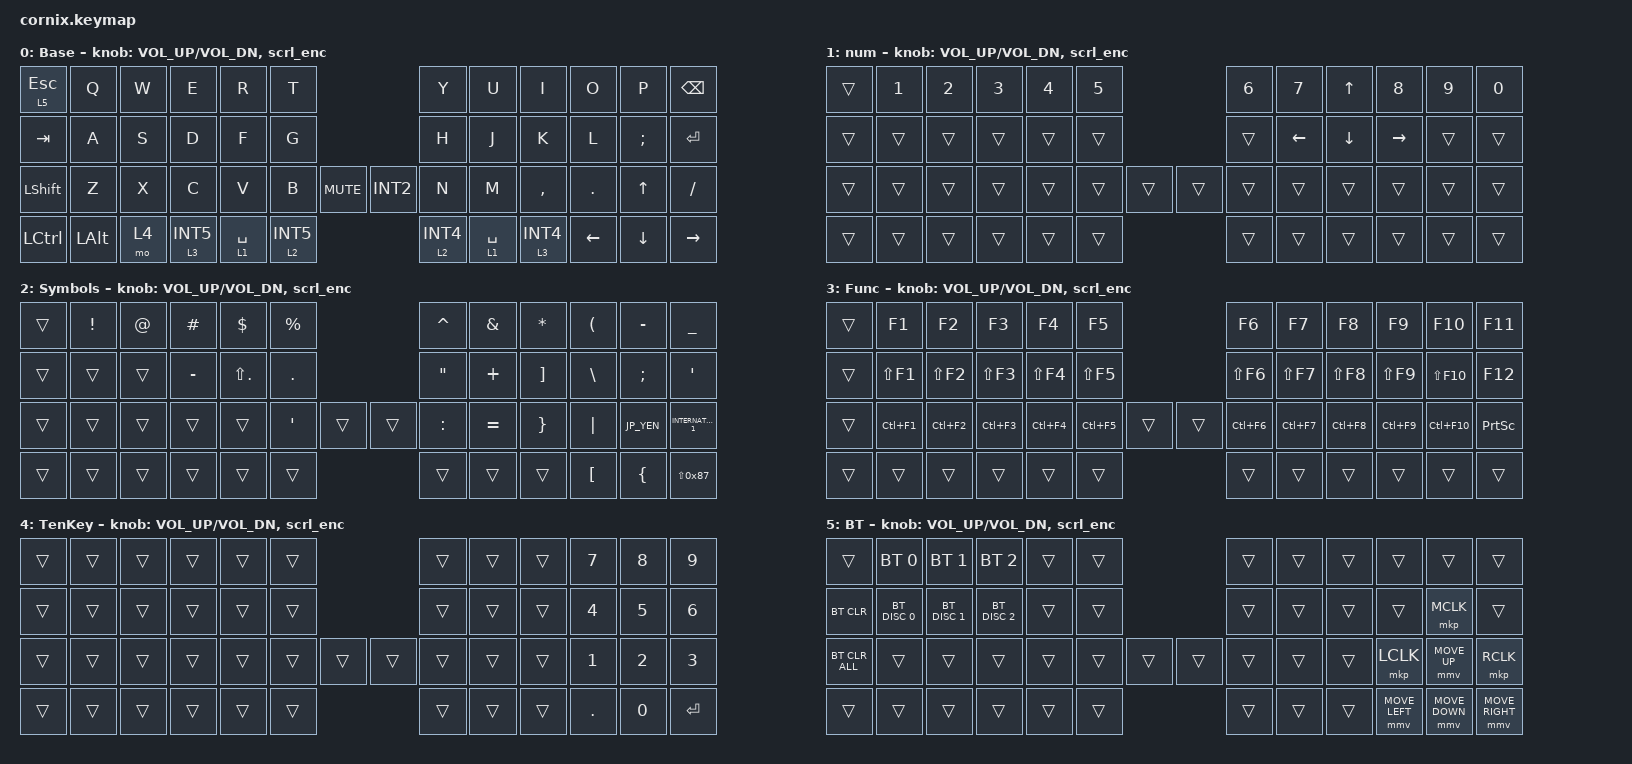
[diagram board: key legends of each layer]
/*
 * Copyright (c) 2020 The ZMK Contributors
 *
 * SPDX-License-Identifier: MIT
 */

#define ZMK_POINTING_DEFAULT_SCRL_VAL 50
#define JP_DQUOTE       AT                // "
#define JP_AMPERSAND    CARET             // &
#define JP_QUOTE        AMPERSAND         // '
#define JP_EQUAL        UNDER             // =
#define JP_CARET        EQUAL             // ^
#define JP_YEN          0x89              // ¥
#define JP_PLUS         COLON             // +
#define JP_TILDE        PLUS              // ~
#define JP_PIPE         LS(0x89)          // |
#define JP_AT           LEFT_BRACKET      // @
#define JP_COLON        SINGLE_QUOTE      // :
#define JP_ASTERISK     DOUBLE_QUOTES     // *
#define JP_BACKQUOTE    LEFT_BRACE        // `
#define JP_UNDERSCORE   LS(0x87)          // _
#define JP_LBRACKET     RIGHT_BRACKET     // [
#define JP_RBRACKET     BACKSLASH         // ]
#define JP_LPAREN       ASTERISK          // (
#define JP_RPAREN       LEFT_PARENTHESIS  // )
#define JP_LBRACE       RIGHT_BRACE       // {
#define JP_RBRACE       PIPE              // }
#define JP_KANA         LANGUAGE_1        // かな
#define JP_EISU         LANGUAGE_2        // 英数
#define JP_HANZEN       GRAVE             // 半角/全角
#define JP_BSLH         INTERNATIONAL_1   // ろ（右下の \ と _ のキー）

#include <behaviors.dtsi>
#include <dt-bindings/zmk/bt.h>
#include <dt-bindings/zmk/keys.h>
#include <dt-bindings/zmk/pointing.h>

/ {
    combos {
        compatible = "zmk,combos";

        esc {
            bindings = <&kp ESCAPE>;
            key-positions = <0 1>;
        };

        minus {
            bindings = <&kp MINUS>;
            key-positions = <8 9>;
        };

        alt_f4 {
            bindings = <&kp LA(F4)>;
            key-positions = <3 4 5>;
        };

        f10 {
            bindings = <&kp F10>;
            key-positions = <9 10>;
        };

        tidle {
            bindings = <&kp JP_TILDE>;
            key-positions = <7 8>;
        };

        pipe {
            bindings = <&kp JP_PIPE>;
            key-positions = <18 32>;
        };

        underscore {
            bindings = <&kp JP_UNDERSCORE>;
            key-positions = <37 36>;
        };

        del {
            bindings = <&kp DELETE>;
            key-positions = <10 11>;
        };

        f7 {
            bindings = <&kp F7>;
            key-positions = <6 7>;
        };

        pointerref {
            bindings = <&pointer_macro>;
            key-positions = <18 19>;
        };

        win {
            bindings = <&kp LEFT_GUI>;
            key-positions = <39 40>;
        };

        space {
            bindings = <&kp SPACE>;
            key-positions = <42 45>;
        };
    };

    macros {
        pointer_macro: new_macro {
            compatible = "zmk,behavior-macro";
            #binding-cells = <0>;
            bindings = <&kp KP_MINUS &kp GT>;
            label = "NEW_MACRO";
        };
    };

    behaviors {
        scrl_enc: scrl_enc {
            compatible = "zmk,behavior-sensor-rotate";
            #sensor-binding-cells = <0>;
            bindings = <&msc SCRL_DOWN>, <&msc SCRL_UP>;

            tap-ms = <50>;
        };
    };

    keymap {
        compatible = "zmk,keymap";

        default_layer {
            display-name = "Base";
            bindings = <
&lt 5 ESC         &kp Q         &kp W  &kp E       &kp R        &kp T                             &kp Y       &kp U        &kp I       &kp O     &kp P         &kp BACKSPACE
&kp TAB           &kp A         &kp S  &kp D       &kp F        &kp G                             &kp H       &kp J        &kp K       &kp L     &kp SEMI      &kp ENTER
&kp LEFT_SHIFT    &kp Z         &kp X  &kp C       &kp V        &kp B       &kp C_MUTE  &kp INT2  &kp N       &kp M        &kp COMMA   &kp DOT   &kp UP_ARROW  &kp SLASH
&kp LEFT_CONTROL  &kp LEFT_ALT  &mo 4  &lt 3 INT5  &lt 1 SPACE  &lt 2 INT5                        &lt 2 INT4  &lt 1 SPACE  &lt 3 INT4  &kp LEFT  &kp DOWN      &kp RIGHT
            >;

            sensor-bindings = <&inc_dec_kp C_VOL_UP C_VOL_DN>, <&scrl_enc>;
        };

        Num_layer {
            display-name = "num";
            bindings = <
&trans  &kp N1  &kp N2  &kp N3  &kp N4  &kp N5                  &kp N6  &kp N7    &kp UP    &kp N8     &kp N9  &kp N0
&trans  &trans  &trans  &trans  &trans  &trans                  &trans  &kp LEFT  &kp DOWN  &kp RIGHT  &trans  &trans
&trans  &trans  &trans  &trans  &trans  &trans  &trans  &trans  &trans  &trans    &trans    &trans     &trans  &trans
&trans  &trans  &trans  &trans  &trans  &trans                  &trans  &trans    &trans    &trans     &trans  &trans
            >;

            sensor-bindings = <&inc_dec_kp C_VOL_UP C_VOL_DN>, <&scrl_enc>;
        };

        Symbol_layer {
            display-name = "Symbols";
            bindings = <
&trans  &kp EXCLAMATION  &kp JP_DQUOTE  &kp HASH   &kp DOLLAR   &kp PERCENT                   &kp JP_AMPERSAND  &kp JP_QUOTE  &kp JP_LPAREN    &kp JP_RPAREN    &kp MINUS         &kp JP_EQUAL
&trans  &trans           &trans         &kp MINUS  &kp LS(DOT)  &kp DOT                       &kp JP_ASTERISK   &kp JP_TILDE  &kp JP_LBRACKET  &kp JP_RBRACKET  &kp SEMI          &kp JP_COLON
&trans  &trans           &trans         &trans     &trans       &kp JP_COLON  &trans  &trans  &kp JP_PLUS       &kp JP_CARET  &kp JP_LBRACE    &kp JP_RBRACE    &kp JP_YEN        &kp JP_BSLH
&trans  &trans           &trans         &trans     &trans       &trans                        &trans            &trans        &trans           &kp JP_AT        &kp JP_BACKQUOTE  &kp JP_UNDERSCORE
            >;

            sensor-bindings = <&inc_dec_kp C_VOL_UP C_VOL_DN>, <&scrl_enc>;
        };

        Function_layer {
            display-name = "Func";
            bindings = <
&trans  &kp F1      &kp F2      &kp F3      &kp F4      &kp F5                      &kp F6      &kp F7      &kp F8      &kp F9      &kp F10      &kp F11
&trans  &kp LS(F1)  &kp LS(F2)  &kp LS(F3)  &kp LS(F4)  &kp LS(F5)                  &kp LS(F6)  &kp LS(F7)  &kp LS(F8)  &kp LS(F9)  &kp LS(F10)  &kp F12
&trans  &kp LC(F1)  &kp LC(F2)  &kp LC(F3)  &kp LC(F4)  &kp LC(F5)  &trans  &trans  &kp LC(F6)  &kp LC(F7)  &kp LC(F8)  &kp LC(F9)  &kp LC(F10)  &kp PRINTSCREEN
&trans  &trans      &trans      &trans      &trans      &trans                      &trans      &trans      &trans      &trans      &trans       &trans
            >;

            sensor-bindings = <&inc_dec_kp C_VOL_UP C_VOL_DN>, <&scrl_enc>;
        };

        TenKey_layer {
            display-name = "TenKey";
            bindings = <
&trans  &trans  &trans  &trans  &trans  &trans                  &trans  &trans  &trans  &kp N7   &kp N8  &kp N9
&trans  &trans  &trans  &trans  &trans  &trans                  &trans  &trans  &trans  &kp N4   &kp N5  &kp N6
&trans  &trans  &trans  &trans  &trans  &trans  &trans  &trans  &trans  &trans  &trans  &kp N1   &kp N2  &kp N3
&trans  &trans  &trans  &trans  &trans  &trans                  &trans  &trans  &trans  &kp DOT  &kp N0  &kp ENTER
            >;

            sensor-bindings = <&inc_dec_kp C_VOL_UP C_VOL_DN>, <&scrl_enc>;

            label = "TenKey";
        };

        BT_layer {
            display-name = "BT";
            bindings = <
&trans          &bt BT_SEL 0   &bt BT_SEL 1   &bt BT_SEL 2   &trans  &trans                  &trans  &trans  &trans  &trans          &trans          &trans
&bt BT_CLR      &bt BT_DISC 0  &bt BT_DISC 1  &bt BT_DISC 2  &trans  &trans                  &trans  &trans  &trans  &trans          &mkp MCLK       &trans
&bt BT_CLR_ALL  &trans         &trans         &trans         &trans  &trans  &trans  &trans  &trans  &trans  &trans  &mkp LCLK       &mmv MOVE_UP    &mkp RCLK
&trans          &trans         &trans         &trans         &trans  &trans                  &trans  &trans  &trans  &mmv MOVE_LEFT  &mmv MOVE_DOWN  &mmv MOVE_RIGHT
            >;

            sensor-bindings = <&inc_dec_kp C_VOL_UP C_VOL_DN>, <&scrl_enc>;
        };
    };
};
